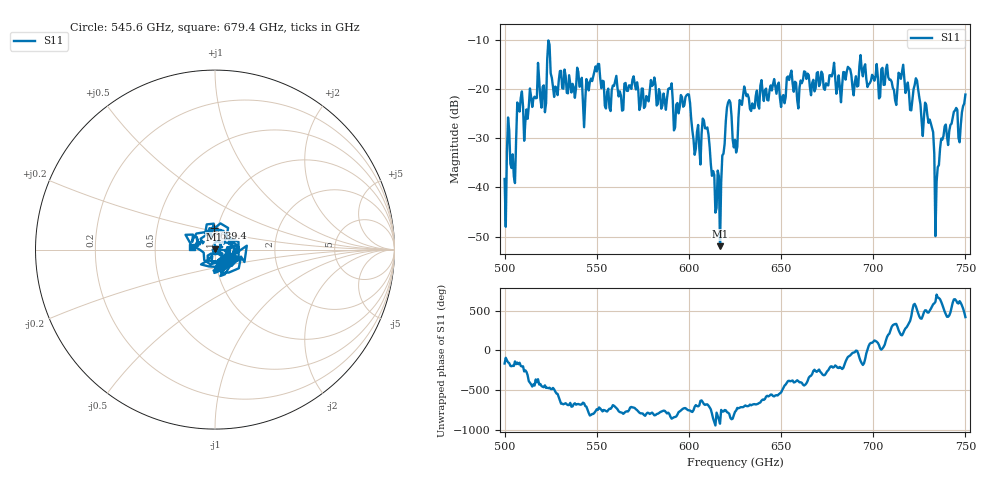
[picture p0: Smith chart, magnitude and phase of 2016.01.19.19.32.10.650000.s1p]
!Created with skrf (http://scikit-rf.org).
# GHz S RI R 50.0
!freq ReS11 ImS11
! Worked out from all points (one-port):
!   401 points, 500 GHz to 750 GHz, reference 50 ohm
!   lowest |S11| = -52.0 dB at 616.9 GHz (marker M1), VSWR 1.01, Z = 49.8 + j0.0707 ohm
!   |S11| at or under -10 dB: start of sweep to end of sweep
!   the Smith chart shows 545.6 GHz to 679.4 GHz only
!   S11 on the Smith chart (normalised r, x): 545.6 GHz: 1.08, -0.18; 639.4 GHz: 0.96, +0.24; 679.4 GHz: 0.77, +0.02
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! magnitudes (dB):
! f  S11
! 500 GHz  -38.3
! 502.5 GHz  -28.5
! 505 GHz  -37.8
! 508.1 GHz  -24.6
! 521.2 GHz  -19.3
! 524.4 GHz  -11.0
! 527.5 GHz  -19.6
! 531.2 GHz  -19.9
! 545.6 GHz  -20.3
! 562.5 GHz  -20.5
! 593.8 GHz  -22.9
! 599.4 GHz  -21.1
! 605 GHz  -27.3
! 608.8 GHz  -28.0
! 615.6 GHz  -36.6
! 616.9 GHz  -52.0
! 621.2 GHz  -22.8
! 625 GHz  -30.4
! 628.8 GHz  -23.3
! 639.4 GHz  -18.2
! 656.2 GHz  -18.9
! 679.4 GHz  -17.9
! 687.5 GHz  -16.0
! 718.8 GHz  -18.7
! 729.4 GHz  -25.4
! 734.4 GHz  -38.9
! 738.1 GHz  -29.6
! 750 GHz  -21.2
